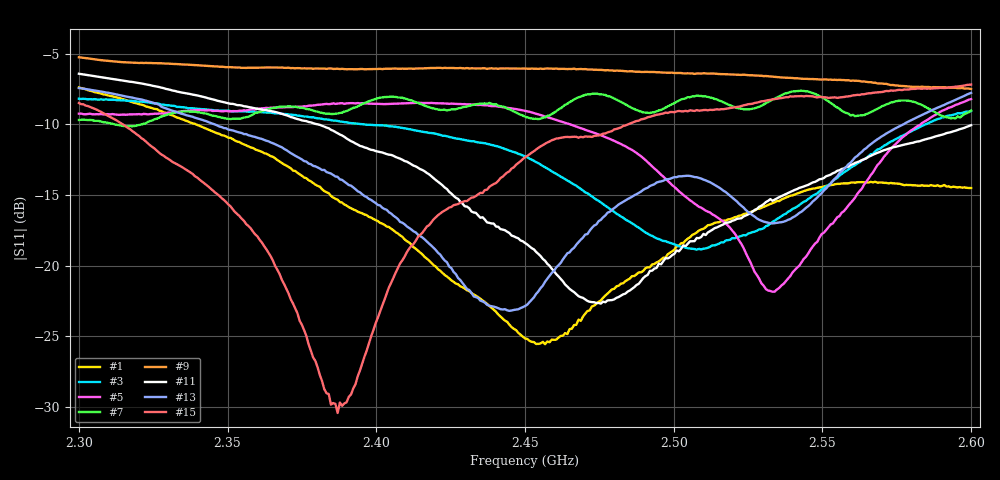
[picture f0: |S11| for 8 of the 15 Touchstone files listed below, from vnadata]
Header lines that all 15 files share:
! NanoVNA-App
! Start: 2.3GHz Stop: 2.6GHz Points: 401
! S-Parameter data: F S11
# Hz S RI R 50
!  Frequency  S11_Real  S11_Imag
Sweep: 2.3 GHz to 2.6 GHz
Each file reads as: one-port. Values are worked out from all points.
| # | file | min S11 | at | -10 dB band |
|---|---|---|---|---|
| 1 | BFD-02-2.4ghz.s1p | -25.5 dB | 2.457 GHz | over 260.7 MHz wide |
| 2 | BFD-04-2.4ghz.s1p | -31.9 dB | 2.458 GHz | over 243 MHz wide |
| 3 | bpi-01-2.4ghz.s1p | -18.9 dB | 2.508 GHz | 189.2 MHz wide |
| 4 | bpi-02-2.4ghz.s1p | -20.7 dB | 2.485 GHz | 178.5 MHz wide |
| 5 | bpi-07-2.4ghz.s1p | -21.8 dB | 2.533 GHz | 117.9 MHz wide |
| 6 | Dart-01-2.4ghz.s1p | -5.3 dB | 2.353 GHz | - |
| 7 | DartGroundPlane-01-2.4ghz.s1p | -10.1 dB | 2.317 GHz | 9.245 MHz wide |
| 8 | DartGroundPlane-02-2.4ghz.s1p | -10.1 dB | 2.317 GHz | 9.728 MHz wide |
| 9 | EW - 01-2.4ghz.s1p | -7.5 dB | 2.6 GHz | - |
| 10 | EW - 02-2.4ghz.s1p | -6.2 dB | 2.6 GHz | - |
| 11 | HF-02-2.4ghz.s1p | -22.7 dB | 2.475 GHz | over 219.8 MHz wide |
| 12 | HF-03-2.4ghz.s1p | -38.2 dB | 2.461 GHz | over 225 MHz wide |
| 13 | HF-04-2.4ghz.s1p | -23.2 dB | 2.445 GHz | 231.7 MHz wide |
| 14 | M25-01-2.4ghz.s1p | -32.4 dB | 2.392 GHz | 175.6 MHz wide |
| 15 | M25-02-2.4ghz.s1p | -30.4 dB | 2.387 GHz | 169.9 MHz wide |
